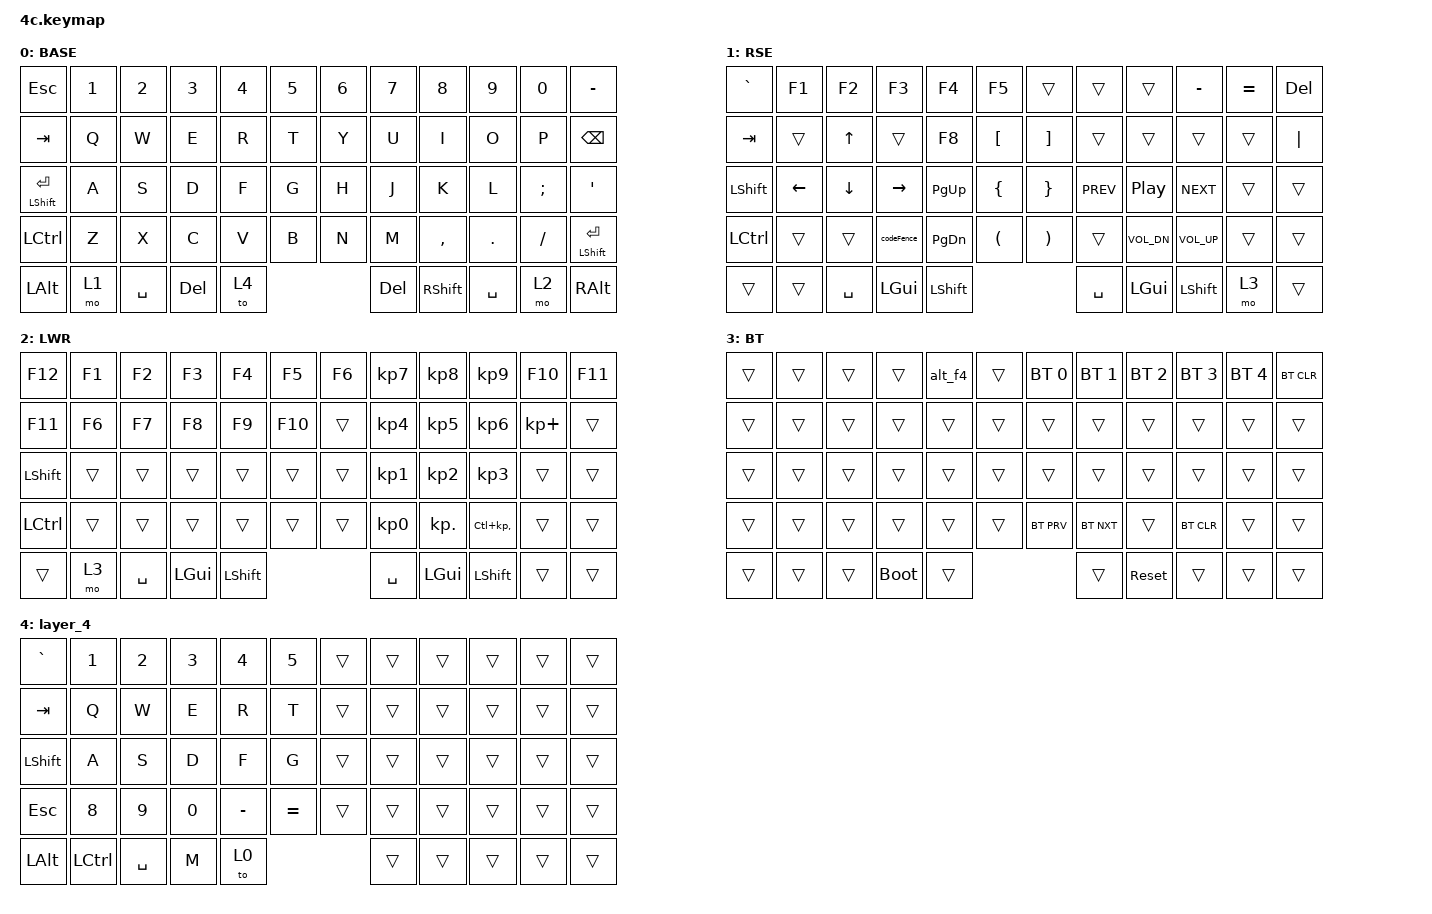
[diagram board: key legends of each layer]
/*
 * Copyright (c) 2020 The ZMK Contributors
 *
 * SPDX-License-Identifier: MIT
 */
/* THIS FILE WAS GENERATED!
 *
 * This file was generated automatically. You may or may not want to
 * edit it directly.
 */

#include <behaviors.dtsi>
#include <dt-bindings/zmk/bt.h>
#include <dt-bindings/zmk/keys.h>

/ {
    combos {
        compatible = "zmk,combos";

        btMo {
            bindings = <&mo 3>;
            key-positions = <56 57>;
        };
    };

    macros {
        codeFence: codeFence {
            compatible = "zmk,behavior-macro";
            label = "new_macro";
            #binding-cells = <0>;
            bindings =
                <&kp GRAVE &kp GRAVE &kp GRAVE &kp RET &kp RET &kp GRAVE &kp GRAVE &kp GRAVE &kp UP>,
                <&macro_press>;
        };
        alt_f4: alt_f4 {
            compatible = "zmk,behavior-macro";
            label = "ALT_F4";
            #binding-cells = <0>;
            bindings = <&kp LALT &kp F4>;
        };
    };

    keymap {
        compatible = "zmk,keymap";

        BASE {
            bindings = <
&kp ESC               &kp NUMBER_1  &kp NUMBER_2  &kp NUMBER_3  &kp NUMBER_4  &kp NUMBER_5    &kp NUMBER_6  &kp NUMBER_7  &kp NUMBER_8  &kp NUMBER_9  &kp NUMBER_0  &kp MINUS
&kp TAB               &kp Q         &kp W         &kp E         &kp R         &kp T           &kp Y         &kp U         &kp I         &kp O         &kp P         &kp BACKSPACE
&mt LEFT_SHIFT ENTER  &kp A         &kp S         &kp D         &kp F         &kp G           &kp H         &kp J         &kp K         &kp L         &kp SEMI      &kp APOS
&kp LCTRL             &kp Z         &kp X         &kp C         &kp V         &kp B           &kp N         &kp M         &kp COMMA     &kp PERIOD    &kp SLASH     &mt LEFT_SHIFT ENTER
&kp LEFT_ALT          &mo 1         &kp SPACE     &kp DELETE    &to 4                                       &kp DELETE    &kp RSHIFT    &kp SPACE     &mo 2         &kp RIGHT_ALT
            >;
        };

        RSE {
            bindings = <
&kp GRAVE       &kp F1    &kp F2     &kp F3        &kp F4          &kp F5                  &trans                 &trans      &trans        &kp MINUS       &kp EQUAL  &kp DELETE
&kp TAB         &trans    &kp UP     &trans        &kp F8          &kp LEFT_BRACKET        &kp RIGHT_BRACKET      &trans      &trans        &trans          &trans     &kp PIPE
&kp LEFT_SHIFT  &kp LEFT  &kp DOWN   &kp RIGHT     &kp PAGE_UP     &kp LEFT_BRACE          &kp RIGHT_BRACE        &kp C_PREV  &kp C_PP      &kp C_NEXT      &trans     &trans
&kp LCTRL       &trans    &trans     &codeFence    &kp PAGE_DOWN   &kp LEFT_PARENTHESIS    &kp RIGHT_PARENTHESIS  &trans      &kp C_VOL_DN  &kp C_VOL_UP    &trans     &trans
&trans          &trans    &kp SPACE  &kp LEFT_GUI  &kp LEFT_SHIFT                                                 &kp SPACE   &kp LEFT_GUI  &kp LEFT_SHIFT  &mo 3      &trans
            >;
        };

        LWR {
            bindings = <
&kp F12         &kp F1  &kp F2     &kp F3        &kp F4          &kp F5     &kp F6  &kp KP_NUMBER_7  &kp KP_NUMBER_8  &kp KP_NUMBER_9   &kp F10      &kp F11
&kp F11         &kp F6  &kp F7     &kp F8        &kp F9          &kp F10    &trans  &kp KP_NUMBER_4  &kp KP_NUMBER_5  &kp KP_NUMBER_6   &kp KP_PLUS  &trans
&kp LEFT_SHIFT  &trans  &trans     &trans        &trans          &trans     &trans  &kp KP_NUMBER_1  &kp KP_NUMBER_2  &kp KP_NUMBER_3   &trans       &trans
&kp LCTRL       &trans  &trans     &trans        &trans          &trans     &trans  &kp KP_NUMBER_0  &kp KP_DOT       &kp LC(KP_COMMA)  &trans       &trans
&trans          &mo 3   &kp SPACE  &kp LEFT_GUI  &kp LEFT_SHIFT                     &kp SPACE        &kp LEFT_GUI     &kp LEFT_SHIFT    &trans       &trans
            >;
        };

        BT {
            bindings = <
&trans  &trans  &trans  &trans       &alt_f4  &trans    &bt BT_SEL 0  &bt BT_SEL 1  &bt BT_SEL 2  &bt BT_SEL 3  &bt BT_SEL 4  &bt BT_CLR
&trans  &trans  &trans  &trans       &trans   &trans    &trans        &trans        &trans        &trans        &trans        &trans
&trans  &trans  &trans  &trans       &trans   &trans    &trans        &trans        &trans        &trans        &trans        &trans
&trans  &trans  &trans  &trans       &trans   &trans    &bt BT_PRV    &bt BT_NXT    &trans        &bt BT_CLR    &trans        &trans
&trans  &trans  &trans  &bootloader  &trans                           &trans        &sys_reset    &trans        &trans        &trans
            >;
        };

        layer_4 {
            bindings = <
&kp GRAVE       &kp NUMBER_1      &kp NUMBER_2  &kp NUMBER_3  &kp NUMBER_4  &kp NUMBER_5    &trans  &trans  &trans  &trans  &trans  &trans
&kp TAB         &kp Q             &kp W         &kp E         &kp R         &kp T           &trans  &trans  &trans  &trans  &trans  &trans
&kp LEFT_SHIFT  &kp A             &kp S         &kp D         &kp F         &kp G           &trans  &trans  &trans  &trans  &trans  &trans
&kp ESCAPE      &kp NUMBER_8      &kp NUMBER_9  &kp NUMBER_0  &kp MINUS     &kp EQUAL       &trans  &trans  &trans  &trans  &trans  &trans
&kp LEFT_ALT    &kp LEFT_CONTROL  &kp SPACE     &kp M         &to 0                                 &trans  &trans  &trans  &trans  &trans
            >;
        };
    };
};
